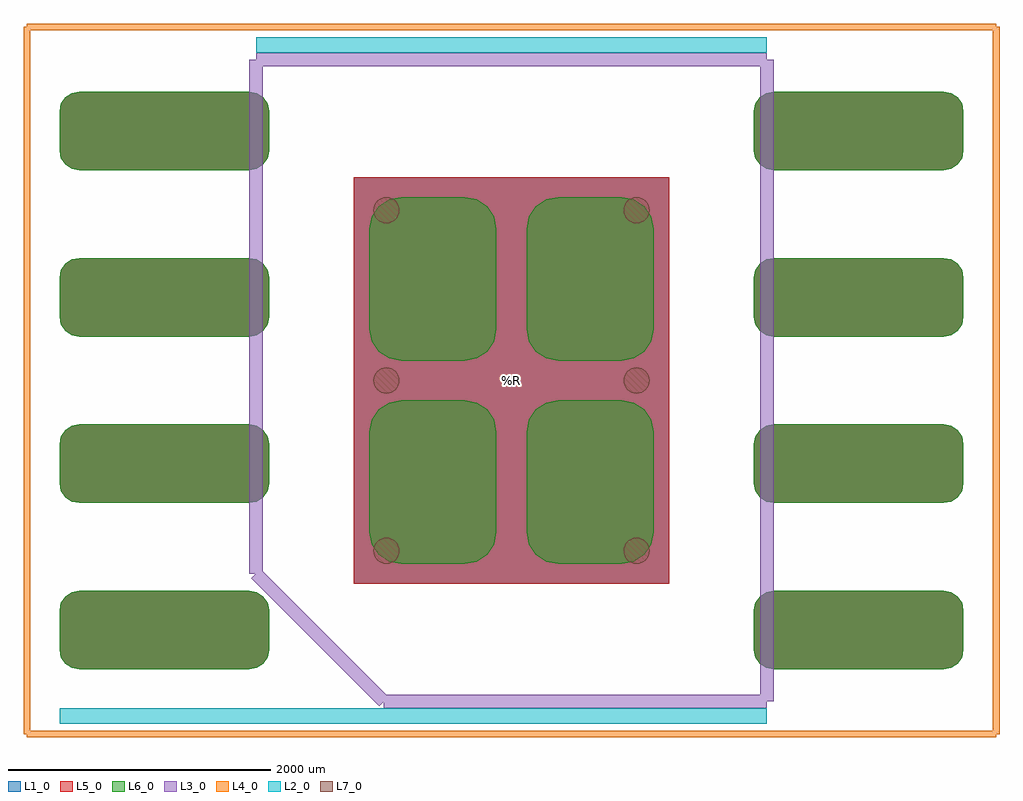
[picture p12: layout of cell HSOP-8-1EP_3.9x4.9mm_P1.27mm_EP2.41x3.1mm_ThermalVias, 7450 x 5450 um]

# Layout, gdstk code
import gdstk
lib = gdstk.Library(unit=1e-6, precision=1e-09)
def R(c, l, rs):  # rectangles x0, y0, x1, y1
    for r in rs: c.add(gdstk.rectangle(r[:2], r[2:], *l))
def P(c, l, *ps):  # polygons
    for p in ps: c.add(gdstk.Polygon(p, *l))
L1_0 = (1, 0)
L2_0 = (2, 0)
L3_0 = (3, 0)
L4_0 = (4, 0)
L5_0 = (5, 0)
L6_0 = (6, 0)
L7_0 = (7, 0)

hsop_8_1ep_3_9x4_9mm_p1_ = lib.new_cell('HSOP-8-1EP_3.9x4.9mm_P1.27mm_EP2.41x3.1mm_ThermalVias')
R(hsop_8_1ep_3_9x4_9mm_p1_, L1_0, [(-1205,-1550,1205,1550), (-1205,-1550,1205,1550)])
P(hsop_8_1ep_3_9x4_9mm_p1_, L1_0, [(-2000,-2205),(-1943,-2194),(-1894,-2161),(-1861,-2112),(-1850,-2055),(-1850,-1755),(-1861,-1698),(-1894,-1649),(-1943,-1616),(-2000,-1605),(-3300,-1605),(-3357,-1616),(-3406,-1649),(-3439,-1698),(-3450,-1755),(-3450,-2055),(-3439,-2112),(-3406,-2161),(-3357,-2194),(-3300,-2205)],
  [(-2000,-935),(-1943,-924),(-1894,-891),(-1861,-842),(-1850,-785),(-1850,-485),(-1861,-428),(-1894,-379),(-1943,-346),(-2000,-335),(-3300,-335),(-3357,-346),(-3406,-379),(-3439,-428),(-3450,-485),(-3450,-785),(-3439,-842),(-3406,-891),(-3357,-924),(-3300,-935)],
  [(-2000,335),(-1943,346),(-1894,379),(-1861,428),(-1850,485),(-1850,785),(-1861,842),(-1894,891),(-1943,924),(-2000,935),(-3300,935),(-3357,924),(-3406,891),(-3439,842),(-3450,785),(-3450,485),(-3439,428),(-3406,379),(-3357,346),(-3300,335)],
  [(-2000,1605),(-1943,1616),(-1894,1649),(-1861,1698),(-1850,1755),(-1850,2055),(-1861,2112),(-1894,2161),(-1943,2194),(-2000,2205),(-3300,2205),(-3357,2194),(-3406,2161),(-3439,2112),(-3450,2055),(-3450,1755),(-3439,1698),(-3406,1649),(-3357,1616),(-3300,1605)],
  [(3300,1605),(3357,1616),(3406,1649),(3439,1698),(3450,1755),(3450,2055),(3439,2112),(3406,2161),(3357,2194),(3300,2205),(2000,2205),(1943,2194),(1894,2161),(1861,2112),(1850,2055),(1850,1755),(1861,1698),(1894,1649),(1943,1616),(2000,1605)],
  [(3300,335),(3357,346),(3406,379),(3439,428),(3450,485),(3450,785),(3439,842),(3406,891),(3357,924),(3300,935),(2000,935),(1943,924),(1894,891),(1861,842),(1850,785),(1850,485),(1861,428),(1894,379),(1943,346),(2000,335)],
  [(3300,-935),(3357,-924),(3406,-891),(3439,-842),(3450,-785),(3450,-485),(3439,-428),(3406,-379),(3357,-346),(3300,-335),(2000,-335),(1943,-346),(1894,-379),(1861,-428),(1850,-485),(1850,-785),(1861,-842),(1894,-891),(1943,-924),(2000,-935)],
  [(3300,-2205),(3357,-2194),(3406,-2161),(3439,-2112),(3450,-2055),(3450,-1755),(3439,-1698),(3406,-1649),(3357,-1616),(3300,-1605),(2000,-1605),(1943,-1616),(1894,-1649),(1861,-1698),(1850,-1755),(1850,-2055),(1861,-2112),(1894,-2161),(1943,-2194),(2000,-2205)],
  [(-705,-1300),(-724,-1204),(-778,-1123),(-859,-1069),(-955,-1050),(-1051,-1069),(-1132,-1123),(-1186,-1204),(-1205,-1300),(-1186,-1396),(-1132,-1477),(-1051,-1531),(-955,-1550),(-859,-1531),(-778,-1477),(-724,-1396)],
  [(1205,-1300),(1186,-1204),(1132,-1123),(1051,-1069),(955,-1050),(859,-1069),(778,-1123),(724,-1204),(705,-1300),(724,-1396),(778,-1477),(859,-1531),(955,-1550),(1051,-1531),(1132,-1477),(1186,-1396)],
  [(-705,0),(-724,96),(-778,177),(-859,231),(-955,250),(-1051,231),(-1132,177),(-1186,96),(-1205,0),(-1186,-96),(-1132,-177),(-1051,-231),(-955,-250),(-859,-231),(-778,-177),(-724,-96)],
  [(1205,0),(1186,96),(1132,177),(1051,231),(955,250),(859,231),(778,177),(724,96),(705,0),(724,-96),(778,-177),(859,-231),(955,-250),(1051,-231),(1132,-177),(1186,-96)],
  [(-705,1300),(-724,1396),(-778,1477),(-859,1531),(-955,1550),(-1051,1531),(-1132,1477),(-1186,1396),(-1205,1300),(-1186,1204),(-1132,1123),(-1051,1069),(-955,1050),(-859,1069),(-778,1123),(-724,1204)],
  [(1205,1300),(1186,1396),(1132,1477),(1051,1531),(955,1550),(859,1531),(778,1477),(724,1396),(705,1300),(724,1204),(778,1123),(859,1069),(955,1050),(1051,1069),(1132,1123),(1186,1204)])
R(hsop_8_1ep_3_9x4_9mm_p1_, L5_0, [(-1205,-1550,1205,1550)])
P(hsop_8_1ep_3_9x4_9mm_p1_, L5_0, [(-2000,-2205),(-1943,-2194),(-1894,-2161),(-1861,-2112),(-1850,-2055),(-1850,-1755),(-1861,-1698),(-1894,-1649),(-1943,-1616),(-2000,-1605),(-3300,-1605),(-3357,-1616),(-3406,-1649),(-3439,-1698),(-3450,-1755),(-3450,-2055),(-3439,-2112),(-3406,-2161),(-3357,-2194),(-3300,-2205)],
  [(-2000,-935),(-1943,-924),(-1894,-891),(-1861,-842),(-1850,-785),(-1850,-485),(-1861,-428),(-1894,-379),(-1943,-346),(-2000,-335),(-3300,-335),(-3357,-346),(-3406,-379),(-3439,-428),(-3450,-485),(-3450,-785),(-3439,-842),(-3406,-891),(-3357,-924),(-3300,-935)],
  [(-2000,335),(-1943,346),(-1894,379),(-1861,428),(-1850,485),(-1850,785),(-1861,842),(-1894,891),(-1943,924),(-2000,935),(-3300,935),(-3357,924),(-3406,891),(-3439,842),(-3450,785),(-3450,485),(-3439,428),(-3406,379),(-3357,346),(-3300,335)],
  [(-2000,1605),(-1943,1616),(-1894,1649),(-1861,1698),(-1850,1755),(-1850,2055),(-1861,2112),(-1894,2161),(-1943,2194),(-2000,2205),(-3300,2205),(-3357,2194),(-3406,2161),(-3439,2112),(-3450,2055),(-3450,1755),(-3439,1698),(-3406,1649),(-3357,1616),(-3300,1605)],
  [(3300,1605),(3357,1616),(3406,1649),(3439,1698),(3450,1755),(3450,2055),(3439,2112),(3406,2161),(3357,2194),(3300,2205),(2000,2205),(1943,2194),(1894,2161),(1861,2112),(1850,2055),(1850,1755),(1861,1698),(1894,1649),(1943,1616),(2000,1605)],
  [(3300,335),(3357,346),(3406,379),(3439,428),(3450,485),(3450,785),(3439,842),(3406,891),(3357,924),(3300,935),(2000,935),(1943,924),(1894,891),(1861,842),(1850,785),(1850,485),(1861,428),(1894,379),(1943,346),(2000,335)],
  [(3300,-935),(3357,-924),(3406,-891),(3439,-842),(3450,-785),(3450,-485),(3439,-428),(3406,-379),(3357,-346),(3300,-335),(2000,-335),(1943,-346),(1894,-379),(1861,-428),(1850,-485),(1850,-785),(1861,-842),(1894,-891),(1943,-924),(2000,-935)],
  [(3300,-2205),(3357,-2194),(3406,-2161),(3439,-2112),(3450,-2055),(3450,-1755),(3439,-1698),(3406,-1649),(3357,-1616),(3300,-1605),(2000,-1605),(1943,-1616),(1894,-1649),(1861,-1698),(1850,-1755),(1850,-2055),(1861,-2112),(1894,-2161),(1943,-2194),(2000,-2205)])
P(hsop_8_1ep_3_9x4_9mm_p1_, L6_0, [(-2000,-2205),(-1943,-2194),(-1894,-2161),(-1861,-2112),(-1850,-2055),(-1850,-1755),(-1861,-1698),(-1894,-1649),(-1943,-1616),(-2000,-1605),(-3300,-1605),(-3357,-1616),(-3406,-1649),(-3439,-1698),(-3450,-1755),(-3450,-2055),(-3439,-2112),(-3406,-2161),(-3357,-2194),(-3300,-2205)],
  [(-2000,-935),(-1943,-924),(-1894,-891),(-1861,-842),(-1850,-785),(-1850,-485),(-1861,-428),(-1894,-379),(-1943,-346),(-2000,-335),(-3300,-335),(-3357,-346),(-3406,-379),(-3439,-428),(-3450,-485),(-3450,-785),(-3439,-842),(-3406,-891),(-3357,-924),(-3300,-935)],
  [(-2000,335),(-1943,346),(-1894,379),(-1861,428),(-1850,485),(-1850,785),(-1861,842),(-1894,891),(-1943,924),(-2000,935),(-3300,935),(-3357,924),(-3406,891),(-3439,842),(-3450,785),(-3450,485),(-3439,428),(-3406,379),(-3357,346),(-3300,335)],
  [(-2000,1605),(-1943,1616),(-1894,1649),(-1861,1698),(-1850,1755),(-1850,2055),(-1861,2112),(-1894,2161),(-1943,2194),(-2000,2205),(-3300,2205),(-3357,2194),(-3406,2161),(-3439,2112),(-3450,2055),(-3450,1755),(-3439,1698),(-3406,1649),(-3357,1616),(-3300,1605)],
  [(3300,1605),(3357,1616),(3406,1649),(3439,1698),(3450,1755),(3450,2055),(3439,2112),(3406,2161),(3357,2194),(3300,2205),(2000,2205),(1943,2194),(1894,2161),(1861,2112),(1850,2055),(1850,1755),(1861,1698),(1894,1649),(1943,1616),(2000,1605)],
  [(3300,335),(3357,346),(3406,379),(3439,428),(3450,485),(3450,785),(3439,842),(3406,891),(3357,924),(3300,935),(2000,935),(1943,924),(1894,891),(1861,842),(1850,785),(1850,485),(1861,428),(1894,379),(1943,346),(2000,335)],
  [(3300,-935),(3357,-924),(3406,-891),(3439,-842),(3450,-785),(3450,-485),(3439,-428),(3406,-379),(3357,-346),(3300,-335),(2000,-335),(1943,-346),(1894,-379),(1861,-428),(1850,-485),(1850,-785),(1861,-842),(1894,-891),(1943,-924),(2000,-935)],
  [(3300,-2205),(3357,-2194),(3406,-2161),(3439,-2112),(3450,-2055),(3450,-1755),(3439,-1698),(3406,-1649),(3357,-1616),(3300,-1605),(2000,-1605),(1943,-1616),(1894,-1649),(1861,-1698),(1850,-1755),(1850,-2055),(1861,-2112),(1894,-2161),(1943,-2194),(2000,-2205)],
  [(-357,-1400),(-265,-1382),(-186,-1329),(-133,-1250),(-115,-1158),(-115,-392),(-133,-300),(-186,-221),(-265,-168),(-357,-150),(-842,-150),(-935,-168),(-1014,-221),(-1067,-300),(-1085,-392),(-1085,-1158),(-1067,-1250),(-1014,-1329),(-935,-1382),(-842,-1400)],
  [(-357,150),(-265,168),(-186,221),(-133,300),(-115,392),(-115,1158),(-133,1250),(-186,1329),(-265,1382),(-357,1400),(-842,1400),(-935,1382),(-1014,1329),(-1067,1250),(-1085,1158),(-1085,393),(-1067,300),(-1014,221),(-935,168),(-842,150)],
  [(842,-1400),(935,-1382),(1014,-1329),(1067,-1250),(1085,-1158),(1085,-392),(1067,-300),(1014,-221),(935,-168),(842,-150),(358,-150),(265,-168),(186,-221),(133,-300),(115,-392),(115,-1158),(133,-1250),(186,-1329),(265,-1382),(357,-1400)],
  [(842,150),(935,168),(1014,221),(1067,300),(1085,392),(1085,1158),(1067,1250),(1014,1329),(935,1382),(842,1400),(358,1400),(265,1382),(186,1329),(133,1250),(115,1158),(115,393),(133,300),(186,221),(265,168),(357,150)])
P(hsop_8_1ep_3_9x4_9mm_p1_, L7_0, [(-855,-1300),(-857,-1280),(-863,-1262),(-872,-1244),(-884,-1229),(-899,-1217),(-917,-1208),(-935,-1202),(-955,-1200),(-975,-1202),(-993,-1208),(-1011,-1217),(-1026,-1229),(-1038,-1244),(-1047,-1262),(-1053,-1280),(-1055,-1300),(-1053,-1320),(-1047,-1338),(-1038,-1356),(-1026,-1371),(-1011,-1383),(-993,-1392),(-975,-1398),(-955,-1400),(-935,-1398),(-917,-1392),(-899,-1383),(-884,-1371),(-872,-1356),(-863,-1338),(-857,-1320)],
  [(1055,-1300),(1053,-1280),(1047,-1262),(1038,-1244),(1026,-1229),(1011,-1217),(993,-1208),(975,-1202),(955,-1200),(935,-1202),(917,-1208),(899,-1217),(884,-1229),(872,-1244),(863,-1262),(857,-1280),(855,-1300),(857,-1320),(863,-1338),(872,-1356),(884,-1371),(899,-1383),(917,-1392),(935,-1398),(955,-1400),(975,-1398),(993,-1392),(1011,-1383),(1026,-1371),(1038,-1356),(1047,-1338),(1053,-1320)],
  [(-855,0),(-857,20),(-863,38),(-872,56),(-884,71),(-899,83),(-917,92),(-935,98),(-955,100),(-975,98),(-993,92),(-1011,83),(-1026,71),(-1038,56),(-1047,38),(-1053,20),(-1055,0),(-1053,-20),(-1047,-38),(-1038,-56),(-1026,-71),(-1011,-83),(-993,-92),(-975,-98),(-955,-100),(-935,-98),(-917,-92),(-899,-83),(-884,-71),(-872,-56),(-863,-38),(-857,-20)],
  [(1055,0),(1053,20),(1047,38),(1038,56),(1026,71),(1011,83),(993,92),(975,98),(955,100),(935,98),(917,92),(899,83),(884,71),(872,56),(863,38),(857,20),(855,0),(857,-20),(863,-38),(872,-56),(884,-71),(899,-83),(917,-92),(935,-98),(955,-100),(975,-98),(993,-92),(1011,-83),(1026,-71),(1038,-56),(1047,-38),(1053,-20)],
  [(-855,1300),(-857,1320),(-863,1338),(-872,1356),(-884,1371),(-899,1383),(-917,1392),(-935,1398),(-955,1400),(-975,1398),(-993,1392),(-1011,1383),(-1026,1371),(-1038,1356),(-1047,1338),(-1053,1320),(-1055,1300),(-1053,1280),(-1047,1262),(-1038,1244),(-1026,1229),(-1011,1217),(-993,1208),(-975,1202),(-955,1200),(-935,1202),(-917,1208),(-899,1217),(-884,1229),(-872,1244),(-863,1262),(-857,1280)],
  [(1055,1300),(1053,1320),(1047,1338),(1038,1356),(1026,1371),(1011,1383),(993,1392),(975,1398),(955,1400),(935,1398),(917,1392),(899,1383),(884,1371),(872,1356),(863,1338),(857,1320),(855,1300),(857,1280),(863,1262),(872,1244),(884,1229),(899,1217),(917,1208),(935,1202),(955,1200),(975,1202),(993,1208),(1011,1217),(1026,1229),(1038,1244),(1047,1262),(1053,1280)])
hsop_8_1ep_3_9x4_9mm_p1_.add(gdstk.FlexPath([(0,2560),(1950,2560)], 120, ends="flush", simple_path=True, layer=2, datatype=0))  # L2_0
hsop_8_1ep_3_9x4_9mm_p1_.add(gdstk.FlexPath([(0,2560),(-1950,2560)], 120, ends="flush", simple_path=True, layer=2, datatype=0))  # L2_0
hsop_8_1ep_3_9x4_9mm_p1_.add(gdstk.FlexPath([(0,-2560),(1950,-2560)], 120, ends="flush", simple_path=True, layer=2, datatype=0))  # L2_0
hsop_8_1ep_3_9x4_9mm_p1_.add(gdstk.FlexPath([(0,-2560),(-3450,-2560)], 120, ends="flush", simple_path=True, layer=2, datatype=0))  # L2_0
hsop_8_1ep_3_9x4_9mm_p1_.add(gdstk.FlexPath([(-975,-2450),(1950,-2450)], 100, ends="flush", simple_path=True, layer=3, datatype=0))  # L3_0
hsop_8_1ep_3_9x4_9mm_p1_.add(gdstk.FlexPath([(1950,-2450),(1950,2450)], 100, ends="flush", simple_path=True, layer=3, datatype=0))  # L3_0
hsop_8_1ep_3_9x4_9mm_p1_.add(gdstk.FlexPath([(1950,2450),(-1950,2450)], 100, ends="flush", simple_path=True, layer=3, datatype=0))  # L3_0
hsop_8_1ep_3_9x4_9mm_p1_.add(gdstk.FlexPath([(-1950,2450),(-1950,-1475)], 100, ends="flush", simple_path=True, layer=3, datatype=0))  # L3_0
hsop_8_1ep_3_9x4_9mm_p1_.add(gdstk.FlexPath([(-1950,-1475),(-975,-2450)], 100, ends="flush", simple_path=True, layer=3, datatype=0))  # L3_0
hsop_8_1ep_3_9x4_9mm_p1_.add(gdstk.FlexPath([(-3700,-2700),(-3700,2700)], 50, ends="flush", simple_path=True, layer=4, datatype=0))  # L4_0
hsop_8_1ep_3_9x4_9mm_p1_.add(gdstk.FlexPath([(-3700,2700),(3700,2700)], 50, ends="flush", simple_path=True, layer=4, datatype=0))  # L4_0
hsop_8_1ep_3_9x4_9mm_p1_.add(gdstk.FlexPath([(3700,2700),(3700,-2700)], 50, ends="flush", simple_path=True, layer=4, datatype=0))  # L4_0
hsop_8_1ep_3_9x4_9mm_p1_.add(gdstk.FlexPath([(3700,-2700),(-3700,-2700)], 50, ends="flush", simple_path=True, layer=4, datatype=0))  # L4_0
hsop_8_1ep_3_9x4_9mm_p1_.add(gdstk.Label('REF**', (0,-3400), layer=2, texttype=0))
hsop_8_1ep_3_9x4_9mm_p1_.add(gdstk.Label('HSOP-8-1EP_3.9x4.9mm_P1.27mm_EP2.41x3.1mm_ThermalVias', (0,3400), layer=3, texttype=0))
hsop_8_1ep_3_9x4_9mm_p1_.add(gdstk.Label('%R', (0,0), layer=3, texttype=0))

lib.write_gds('HSOP-8-1EP_3.9x4.9mm_P1.27mm_EP2.41x3.1mm_ThermalVias.gds')
